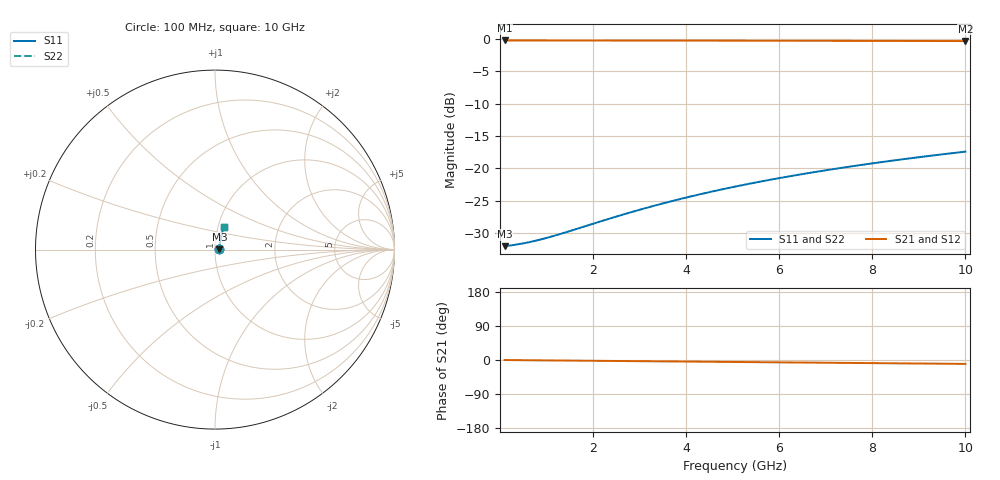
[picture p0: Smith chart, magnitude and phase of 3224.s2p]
# Hz S RI R 50.00
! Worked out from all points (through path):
!   100 points, 100 MHz to 10 GHz, reference 50 ohm
!   highest |S21| = -0.22 dB at 100 MHz (marker M1); lowest = -0.3 dB at 10 GHz (marker M2)
!   group delay of S21, straight-line fit = 2.86 ps
!   lowest |S11| = -32.0 dB at 100 MHz (marker M3), VSWR 1.05, Z = 52.6 + j0.136 ohm
!   |S11| at or under -10 dB: start of sweep to end of sweep
!   |S22| runs from -32.0 to -17.4 dB; largest |S21 - S12| = 0
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1e8  0.025 0.00129  0.975 -0.00176  0.975 -0.00176  0.025 0.00129
3e8  0.0253 0.00387  0.9747 -0.00528  0.9747 -0.00528  0.0253 0.00387
5e8  0.0255 0.00644  0.9745 -0.0088  0.9745 -0.0088  0.0255 0.00644
8e8  0.0257 0.0103  0.9742 -0.0141  0.9742 -0.0141  0.0257 0.0103
1e9  0.0259 0.0129  0.9741 -0.0176  0.9741 -0.0176  0.0259 0.0129
1.2e9  0.0261 0.0154  0.9739 -0.0211  0.9739 -0.0211  0.0261 0.0154
1.8e9  0.0267 0.0231  0.9732 -0.0316  0.9732 -0.0316  0.0267 0.0231
2.3e9  0.0273 0.0295  0.9726 -0.0404  0.9726 -0.0404  0.0273 0.0295
2.7e9  0.0279 0.0346  0.972 -0.0474  0.972 -0.0474  0.0279 0.0346
3.1e9  0.0285 0.0397  0.9714 -0.0544  0.9714 -0.0544  0.0285 0.0397
3.4e9  0.029 0.0436  0.9708 -0.0596  0.9708 -0.0596  0.029 0.0436
3.8e9  0.0298 0.0486  0.9701 -0.0666  0.9701 -0.0666  0.0298 0.0486
4.2e9  0.0306 0.0537  0.9692 -0.0735  0.9692 -0.0735  0.0306 0.0537
4.6e9  0.0314 0.0588  0.9683 -0.0805  0.9683 -0.0805  0.0314 0.0588
5.1e9  0.0326 0.0651  0.9671 -0.0892  0.9671 -0.0892  0.0326 0.0651
5.5e9  0.0337 0.0701  0.966 -0.0961  0.966 -0.0961  0.0337 0.0701
5.9e9  0.0348 0.0751  0.9648 -0.103  0.9648 -0.103  0.0348 0.0751
6.7e9  0.0372 0.085  0.9623 -0.1167  0.9623 -0.1167  0.0372 0.085
7.5e9  0.0398 0.0948  0.9595 -0.1303  0.9595 -0.1303  0.0398 0.0948
8.4e9  0.0432 0.1058  0.956 -0.1456  0.956 -0.1456  0.0432 0.1058
9.2e9  0.0464 0.1154  0.9526 -0.159  0.9526 -0.159  0.0464 0.1154
1e10  0.0499 0.125  0.9489 -0.1723  0.9489 -0.1723  0.0499 0.125
